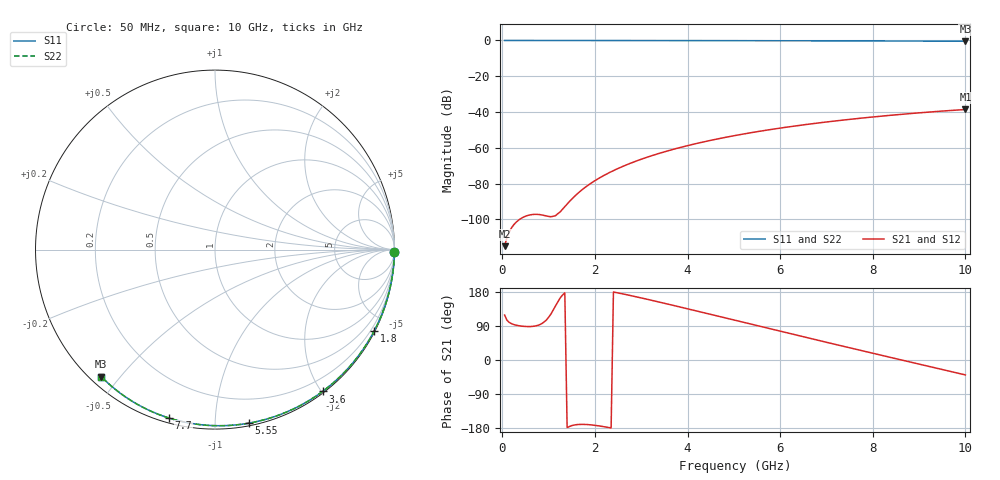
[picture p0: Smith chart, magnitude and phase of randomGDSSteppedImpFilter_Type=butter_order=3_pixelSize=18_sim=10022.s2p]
! freq	dB(S11)	phase(S11)	dB(S12)	phase(S12)
!  dB(S21)	phase(S21)	dB(S22)	phase(S22)
!S-par simulation data
#  GHz  S  DB  R 50
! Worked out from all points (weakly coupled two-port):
!   200 points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, 50 MHz to 10 GHz, reference 50 ohm
!   highest |S21| = -38.58 dB at 10 GHz (marker M1); lowest = -115.0 dB at 50 MHz (marker M2)
!   lowest |S11| = -0.4 dB at 10 GHz (marker M3), VSWR 38.96, Z = 1.54 - j22.3 ohm
!   |S11| at or under -10 dB: nowhere
!   |S22| runs from -0.4 to 0.0 dB; largest |S21 - S12| = 0
!   S11 on the Smith chart (normalised r, x): 50 MHz: open; 1.8 GHz: 0.04, -4.16; 3.6 GHz: 0.02, -2.01; 5.55 GHz: 0.02, -1.21; 7.7 GHz: 0.02, -0.76; 10 GHz: 0.03, -0.45
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0.05  -0.00 -0.8  -114.97 118.7  -114.97 118.7  -0.00 -0.8
0.45  -0.01 -6.9  -98.83 88.9  -98.83 88.9  -0.01 -6.9
0.9  -0.02 -13.6  -97.80 100.1  -97.80 100.1  -0.02 -13.6
1.75  -0.03 -26.3  -82.88 -169.9  -82.88 -169.9  -0.03 -26.3
1.8  -0.03 -27.0  -81.89 -170.1  -81.89 -170.1  -0.03 -27.0
1.9  -0.04 -28.5  -80.06 -171.0  -80.06 -171.0  -0.04 -28.5
2.05  -0.04 -30.7  -77.58 -173.2  -77.58 -173.2  -0.04 -30.7
2.25  -0.04 -33.6  -74.67 -177.1  -74.67 -177.1  -0.04 -33.6
2.45  -0.05 -36.5  -72.13 178.3  -72.13 178.3  -0.05 -36.5
2.65  -0.05 -39.4  -69.85 173.2  -69.85 173.2  -0.05 -39.4
3  -0.06 -44.4  -66.39 163.8  -66.39 163.8  -0.06 -44.4
3.4  -0.07 -50.0  -63.01 152.6  -63.01 152.6  -0.07 -50.0
3.6  -0.07 -52.8  -61.50 146.8  -61.50 146.8  -0.07 -52.8
4.3  -0.09 -62.4  -56.96 126.3  -56.96 126.3  -0.09 -62.4
5.05  -0.11 -72.4  -53.01 104.1  -53.01 104.1  -0.11 -72.4
5.55  -0.13 -78.9  -50.78 89.3  -50.78 89.3  -0.13 -78.9
6.1  -0.15 -85.9  -48.60 73.1  -48.60 73.1  -0.15 -85.9
6.7  -0.18 -93.3  -46.51 55.5  -46.51 55.5  -0.18 -93.3
7.7  -0.24 -105.4  -43.55 26.5  -43.55 26.5  -0.24 -105.4
8.35  -0.29 -113.0  -41.91 7.8  -41.91 7.8  -0.29 -113.0
9.15  -0.36 -122.2  -40.15 -15.1  -40.15 -15.1  -0.36 -122.2
10  -0.45 -131.8  -38.58 -39.4  -38.58 -39.4  -0.45 -131.8
